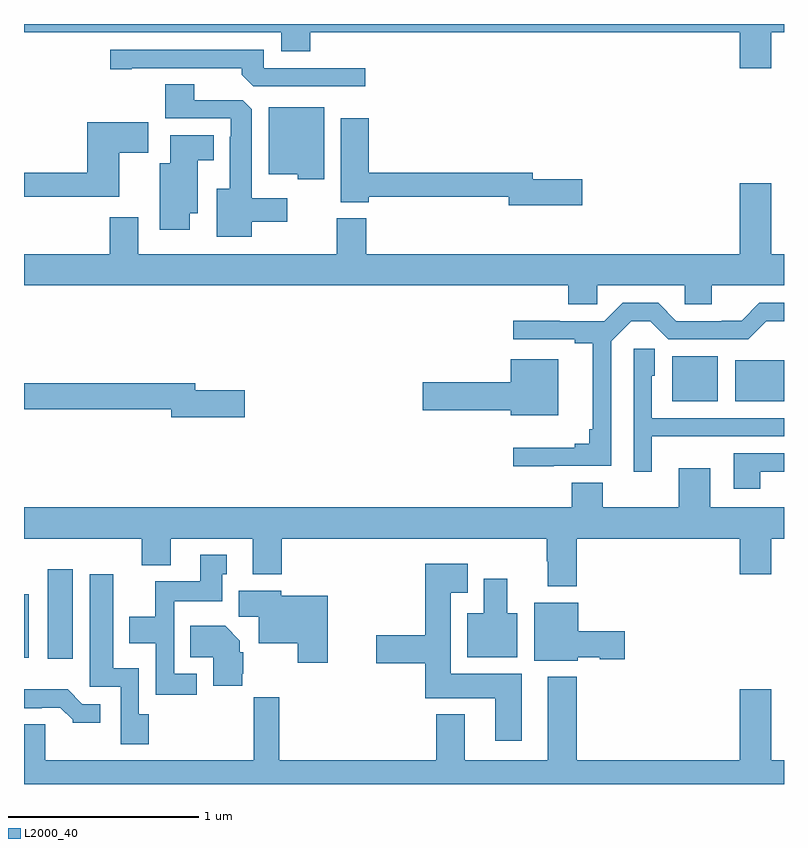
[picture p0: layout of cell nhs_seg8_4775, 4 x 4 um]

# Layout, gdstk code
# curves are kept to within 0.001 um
import gdstk
lib = gdstk.Library(unit=1e-6, precision=1e-09)
def R(c, l, rs):  # rectangles x0, y0, x1, y1
    for r in rs: c.add(gdstk.rectangle(r[:2], r[2:], *l))
def P(c, l, *ps):  # polygons
    for p in ps: c.add(gdstk.Polygon(p, *l))
L2000_40 = (2000, 40)

nhs_seg8_4775 = lib.new_cell('nhs_seg8_4775')
R(nhs_seg8_4775, L2000_40, [(401.126,1090.56,401.257,1091.029), (401,1090.565,401.026,1090.9), (404.411,1091.915,404.65,1092.151), (404.744,1091.915,405,1092.13)])
P(nhs_seg8_4775, L2000_40, [(401,1093.856),(402.353,1093.856),(402.353,1093.757),(402.506,1093.757),(402.506,1093.856),(404.768,1093.856),(404.768,1093.668),(404.932,1093.668),(404.932,1093.856),(405,1093.856),(405,1093.9),(401,1093.9)],
  [(402.796,1093.668),(402.261,1093.668),(402.261,1093.764),(401.454,1093.764),(401.454,1093.663),(401.566,1093.663),(401.566,1093.668),(402.146,1093.668),(402.146,1093.634),(402.207,1093.572),(402.796,1093.572)],
  [(402.199,1092.86),(402.385,1092.86),(402.385,1092.982),(402.199,1092.982),(402.199,1093.451),(402.15,1093.5),(401.896,1093.5),(401.896,1093.583),(401.744,1093.583),(401.744,1093.404),(402.087,1093.404),(402.087,1093.307),(402.083,1093.307),(402.083,1093.033),(402.014,1093.033),(402.014,1092.779),(402.199,1092.779)],
  [(402.58,1093.462),(402.287,1093.462),(402.287,1093.109),(402.441,1093.109),(402.441,1093.082),(402.58,1093.082)],
  [(403.939,1093.082),(403.678,1093.082),(403.678,1093.118),(402.815,1093.118),(402.815,1093.405),(402.668,1093.405),(402.668,1092.962),(402.815,1092.962),(402.815,1092.99),(403.55,1092.99),(403.55,1092.947),(403.939,1092.947)],
  [(401.5,1093.222),(401.653,1093.222),(401.653,1093.384),(401.333,1093.384),(401.333,1093.118),(401,1093.118),(401,1092.99),(401.5,1092.99)],
  [(401.872,1092.905),(401.914,1092.905),(401.914,1093.184),(401.998,1093.184),(401.998,1093.315),(401.771,1093.315),(401.771,1093.168),(401.714,1093.168),(401.714,1092.816),(401.872,1092.816)],
  [(404.016,1092.524),(404.478,1092.524),(404.478,1092.426),(404.62,1092.426),(404.62,1092.524),(405,1092.524),(405,1092.688),(404.932,1092.688),(404.932,1093.063),(404.768,1093.063),(404.768,1092.688),(402.8,1092.688),(402.8,1092.877),(402.647,1092.877),(402.647,1092.688),(401.602,1092.688),(401.602,1092.883),(401.45,1092.883),(401.45,1092.688),(401,1092.688),(401,1092.524),(403.865,1092.524),(403.865,1092.426),(404.016,1092.426)],
  [(403.787,1091.574),(404.091,1091.574),(404.091,1092.231),(404.195,1092.335),(404.296,1092.335),(404.391,1092.24),(404.811,1092.24),(404.906,1092.335),(405,1092.335),(405,1092.432),(404.871,1092.432),(404.777,1092.338),(404.672,1092.338),(404.672,1092.336),(404.433,1092.336),(404.337,1092.432),(404.15,1092.432),(404.054,1092.336),(403.821,1092.336),(403.821,1092.338),(403.575,1092.338),(403.575,1092.24),(403.898,1092.24),(403.898,1092.22),(403.994,1092.22),(403.994,1091.767),(403.975,1091.767),(403.975,1091.69),(403.898,1091.69),(403.898,1091.671),(403.575,1091.671),(403.575,1091.573)],
  [(404.305,1091.729),(404.639,1091.729),(404.639,1091.73),(405,1091.73),(405,1091.826),(404.304,1091.826),(404.304,1092.048),(404.32,1092.048),(404.32,1092.191),(404.208,1092.191),(404.208,1091.544),(404.305,1091.544)],
  [(403.813,1092.136),(403.562,1092.136),(403.562,1092.014),(403.098,1092.014),(403.098,1091.867),(403.562,1091.867),(403.562,1091.84),(403.813,1091.84)],
  [(402.163,1091.972),(401.902,1091.972),(401.902,1092.008),(401,1092.008),(401,1091.872),(401.774,1091.872),(401.774,1091.83),(402.163,1091.83)],
  [(404.875,1091.544),(405,1091.544),(405,1091.64),(404.735,1091.64),(404.735,1091.454),(404.875,1091.454)],
  [(403.91,1091.192),(404.768,1091.192),(404.768,1091.004),(404.932,1091.004),(404.932,1091.192),(405,1091.192),(405,1091.356),(404.611,1091.356),(404.611,1091.563),(404.447,1091.563),(404.447,1091.356),(404.047,1091.356),(404.047,1091.485),(403.883,1091.485),(403.883,1091.356),(401,1091.356),(401,1091.192),(401.621,1091.192),(401.621,1091.051),(401.773,1091.051),(401.773,1091.192),(402.203,1091.192),(402.203,1091.003),(402.356,1091.003),(402.356,1091.192),(403.75,1091.192),(403.75,1091.072),(403.757,1091.072),(403.757,1090.94),(403.91,1090.94)],
  [(401.908,1090.479),(401.79,1090.479),(401.79,1090.862),(402.043,1090.862),(402.043,1091.004),(402.067,1091.004),(402.067,1091.107),(401.927,1091.107),(401.927,1090.966),(401.692,1090.966),(401.692,1090.78),(401.555,1090.78),(401.555,1090.64),(401.694,1090.64),(401.694,1090.371),(401.908,1090.371)],
  [(403.621,1090.48),(403.246,1090.48),(403.246,1090.907),(403.336,1090.907),(403.336,1091.059),(403.112,1091.059),(403.112,1090.682),(402.855,1090.682),(402.855,1090.535),(403.112,1090.535),(403.112,1090.352),(403.481,1090.352),(403.481,1090.128),(403.621,1090.128)],
  [(401.657,1090.266),(401.604,1090.266),(401.604,1090.51),(401.47,1090.51),(401.47,1091.005),(401.345,1091.005),(401.345,1090.413),(401.508,1090.413),(401.508,1090.11),(401.657,1090.11)],
  [(403.597,1090.798),(403.543,1090.798),(403.543,1090.981),(403.421,1090.981),(403.421,1090.798),(403.334,1090.798),(403.334,1090.568),(403.597,1090.568)],
  [(402.598,1090.891),(402.354,1090.891),(402.354,1090.918),(402.131,1090.918),(402.131,1090.78),(402.236,1090.78),(402.236,1090.64),(402.44,1090.64),(402.44,1090.539),(402.598,1090.539)],
  [(403.914,1090.568),(404.031,1090.568),(404.031,1090.556),(404.161,1090.556),(404.161,1090.703),(403.918,1090.703),(403.918,1090.855),(403.685,1090.855),(403.685,1090.55),(403.914,1090.55)],
  [(402.149,1090.479),(402.154,1090.479),(402.154,1090.593),(402.136,1090.593),(402.136,1090.654),(402.058,1090.732),(401.875,1090.732),(401.875,1090.568),(401.996,1090.568),(401.996,1090.418),(402.149,1090.418)],
  [(405,1090.024),(404.932,1090.024),(404.932,1090.399),(404.768,1090.399),(404.768,1090.024),(403.91,1090.024),(403.91,1090.465),(403.757,1090.465),(403.757,1090.024),(403.321,1090.024),(403.321,1090.267),(403.169,1090.267),(403.169,1090.024),(402.344,1090.024),(402.344,1090.357),(402.208,1090.357),(402.208,1090.024),(401.113,1090.024),(401.113,1090.214),(401,1090.214),(401,1089.9),(405,1089.9)],
  [(401.401,1090.32),(401.307,1090.32),(401.229,1090.399),(401,1090.399),(401,1090.299),(401.093,1090.299),(401.093,1090.302),(401.192,1090.302),(401.256,1090.238),(401.256,1090.223),(401.401,1090.223)])

lib.write_gds('nhs_seg8_4775.gds')
